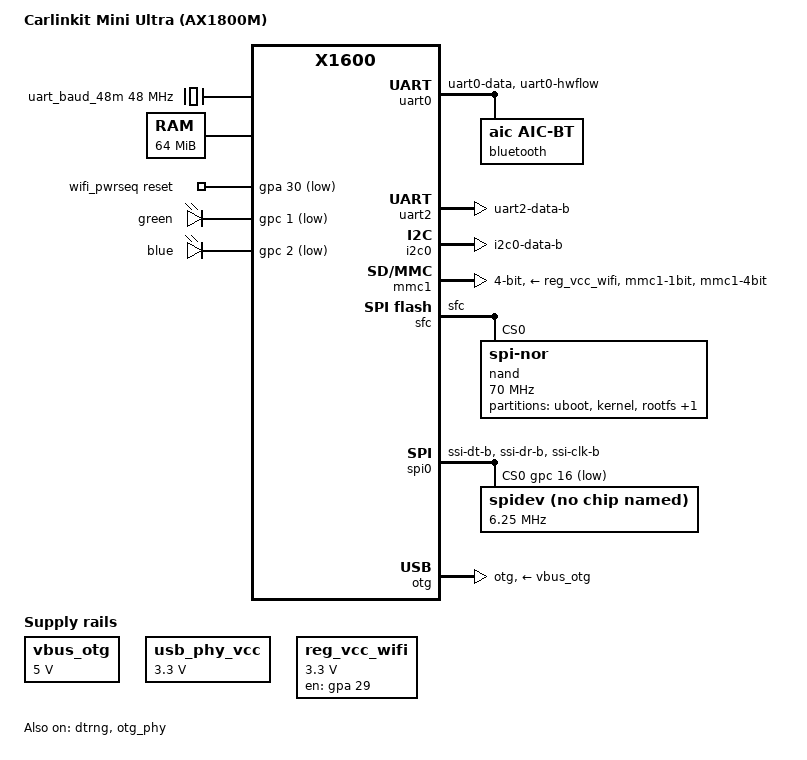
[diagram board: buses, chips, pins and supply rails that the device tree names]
/dts-v1/;

#include "x1600.dtsi"
#include <dt-bindings/gpio/gpio.h>
#include <dt-bindings/input/input.h>
#include <dt-bindings/interrupt-controller/irq.h>

/ {
	compatible = "carlinkit,mini-ultra", "ingenic,x1600";

	model = "Carlinkit Mini Ultra (AX1800M)";

	cpu_opp_table: opp-table {
		compatible = "operating-points-v2";

		opp-1104000000 {
			opp-hz = /bits/ 64 <1104000000>;
		};

		opp-552000000 {
			opp-hz = /bits/ 64 <552000000>;
		};

		opp-368000000 {
			opp-hz = /bits/ 64 <368000000>;
		};

		opp-276000000 {
			opp-hz = /bits/ 64 <276000000>;
		};

		opp-220800000 {
			opp-hz = /bits/ 64 <220800000>;
		};

		opp-184000000 {
			opp-hz = /bits/ 64 <184000000>;
		};
	};

	/* As a gadget we are unlikely to detect VBUS, because it goes directly to voltage regulator and powers the entire device.
	   Pretend it's always there */
	vbus_otg: regulator-vbus {
		compatible = "regulator-fixed";
		regulator-name = "usb-vbus";
		regulator-always-on;
		regulator-boot-on;
		regulator-min-microvolt = <5000000>;
		regulator-max-microvolt = <5000000>;

		enable-active-high;
		regulator-type = "voltage";
	};

	/* As a host (fake iPhone), don't provide power, iPhone doesn't do that either because it wants to be charged by the other end. */
	usb_phy_vcc: regulator-usb-phy {
		compatible = "regulator-fixed";
		regulator-name = "usb-phy-vcc";
		regulator-always-on;
		regulator-boot-on;

		regulator-min-microvolt = <3300000>;
		regulator-max-microvolt = <3300000>;

		enable-active-high;
		regulator-type = "voltage";

	};

	/* Fix Letux limiting baudrate to 1.5M, breaking our 3M preferred baudrate during boot */
	uart_baud_48m: uart-baud-48m {
		compatible = "fixed-clock";
		#clock-cells = <0>;
		clock-output-names = "uart-baud-48m";
		clock-frequency = <48000000>;
	};

	aliases {
		i2c0 = &i2c0;
		i2c1 = &i2c1;
		uart0 = &uart0;
		uart1 = &uart1;
		uart2 = &uart2;
		uart3 = &uart3;
		mac0 = &mac0;
		spi0 = &spi0;
		spi-slv0 = &spi_slv0;
		pwm = &pwm;
		can0 = &can0;
		can1 = &can1;
		mmc0 = &mmc0;
		mmc1 = &mmc1;

		serial2 = &uart2;
	};

	chosen {
		stdout-path = "serial2:3000000n8";
#if 0	// u-boot and optionally CONFIG_CMDLINE should provide something application specific
		bootargs = "mem=64M@0x0 rootfstype=ext4 root=/dev/mmcblk0p2 rw earlycon console=ttyS2,115200 ignore_loglevel rootwait";
#endif
	};

	reserved-memory {
		#address-cells = <1>;
		#size-cells = <1>;
		ranges =<>;

		reserved_memory: reserved_mem@2000000{
		      compatible = "shared-dma-pool";
		      reg = <0x02000000 0x20000>;
		};
	};

	memory@0 {
		device_type = "memory";
		reg = <0x00000000 0x04000000>; /* 64MB */
	};

	wifi_pwrseq: wifi-pwrseq {
		compatible = "mmc-pwrseq-simple";
		reset-gpios = <&gpa 30 GPIO_ACTIVE_LOW>; /* PA30 = WL_REG_ON */
		post-power-on-delay-ms = <100>; /* 200 */
		power-off-delay-us = <5000000>;
	};

	reg_vcc_wifi: regulator-vcc-wifi {
		compatible = "regulator-fixed";
		regulator-name = "vcc_wifi";
		regulator-min-microvolt = <3300000>;
		regulator-max-microvolt = <3300000>;

		gpio = <&gpa 29 GPIO_ACTIVE_HIGH>; /* PA29 = WLAN_POWER_ON */
		enable-active-high;
		/* startup-delay-us = <100000>; */ /* 100 ms */
	};

	leds {
    	compatible = "gpio-leds";

		green {
			gpios = <&gpc 1 GPIO_ACTIVE_LOW>;
		};

		blue {
			gpios = <&gpc 2 GPIO_ACTIVE_LOW>;
		};
	};
};

&pinctrl {
	uart0_pb: uart0-pb {
		function = "uart0";
		groups = "uart0-data";
		bias-pull-up;
	};

	uart0_pb_flow: uart0-pb-flow {
		function = "uart0";
		groups = "uart0-hwflow";
		bias-pull-up;
	};

	uart1_pb: uart1-pb {
		function = "uart1";
		groups = "uart1-data";
		bias-pull-up;
	};

	uart1_pb_flow: uart1-pb-flow {
		function = "uart1";
		groups = "uart1-hwflow";
		bias-pull-up;
	};

	uart2_pb: uart2-pb {
		function = "uart2";
		groups = "uart2-data-b";
		bias-pull-up;
	};

	uart3_pb: uart3-pb {
		function = "uart3";
		groups = "uart3-data-b";
		bias-pull-up;
	};

	spi0_pa: spi0-pa {
		function = "ssi";
		groups = "ssi-dt-a", "ssi-dr-a", "ssi-clk-a", "ssi-ce0-a", "ssi-ce1-b";
		bias-disable;
	};

	spi0_pb: spi0-pb {
		function = "ssi";
		groups = "ssi-dt-b", "ssi-dr-b", "ssi-clk-b";
		bias-disable;
	};

	msc0_4bit_f1: msc0 {
		function = "mmc0";
		groups = "mmc0-1bit-c", "mmc0-4bit-c";
		bias-disable;
	};

	msc1_4bit: msc1 {
		function = "mmc1";
		groups = "mmc1-1bit", "mmc1-4bit";
		bias-disable;
	};

	i2c0_pa: i2c0 {
		function = "i2c0";
		groups = "i2c0-data-a";
		bias-pull-up;
	};

	i2c0_pb: i2c0 {
		function = "i2c0";
		groups = "i2c0-data-b";
		bias-pull-up;
	};

	i2c1_pb: i2c1 {
		function = "i2c1";
		groups = "i2c1-data-b-19";
		bias-pull-up;
	};

	sfc_pc: sfc-pc {
		function = "sfc";
		groups = "sfc";
		bias-disable;
	};

// FIXME:
	spi_slv_pa: fixme {
		ingenic,pinmux = <&gpa 28 31>;
//		ingenic,pinmux-funcsel = <PINCTL_FUNCTION1>;
		bias-disable;
	};
};

&cgu {
	assigned-clocks = <&cgu X1600_CLK_EPLL>,
			  <&cgu X1600_CLK_I2S0>,
			  <&cgu X1600_CLK_I2S1>;

	assigned-clock-parents = <&cgu X1600_CLK_EXCLK>,
				 <&cgu X1600_CLK_EPLL>,
				 <&cgu X1600_CLK_EPLL>;

	assigned-clock-rates = <200000000>,
			       <100000000>,
			       <100000000>;
};

&rtc_dev {
	system-power-controller;
};

&uart0 {
	status = "okay";
	pinctrl-names = "default";
	pinctrl-0 = <&uart0_pb &uart0_pb_flow>;
	uart-has-rtscts;

	bluetooth {
		compatible = "aic,aic-bt";
		max-speed = <1500000>;
		uart-has-rtscts;
	};
};

&uart1 {
	status = "disabled";
};

&uart2 {
	status = "okay";
	clocks = <&uart_baud_48m>, <&cgu X1600_CLK_UART2>;
	clock-names = "baud", "module";

	pinctrl-names = "default";
	pinctrl-0 = <&uart2_pb>;
};

&uart3 {
	status = "disabled";
};

&cpu0 {
	operating-points-v2 = <&cpu_opp_table>;
};

&cpufreq {
	status = "disabled";
};

&dma {
	status = "okay";
};

&i2c0 {
	status = "okay";
	pinctrl-names = "default";
	pinctrl-0 = <&i2c0_pb>;
};

&i2c1 {
	status = "disabled";
};

&mmc0 {
	status = "disabled";
};

&mmc1 {
	status = "okay";

	pinctrl-names = "default";
	pinctrl-0 = <&msc1_4bit>;

	bus-width = <4>;
	max-frequency = <50000000>;
	broken-cd;

	#address-cells = <1>;
	#size-cells = <0>;

	cap-sd-highspeed;
	vmmc-supply = <&reg_vcc_wifi>;
	mmc-pwrseq = <&wifi_pwrseq>;

	c2a,btmode_pin = <89>;
	c2a,iopad_tune;
	c2a,iopad_delay1 = <0x80>;
};

&sfc {
	pinctrl-names = "default";
	pinctrl-0 = <&sfc_pc>;

	#address-cells = <1>;
	#size-cells = <0>;

	status = "okay";

	nand@0 {
		// compatible = "spi-nand";
		compatible = "jedec,spi-nor";
		reg = <0>;
		// spi-max-frequency = <50000000>;
		spi-max-frequency = <70000000>;
        spi-rx-bus-width = <4>;
        spi-tx-bus-width = <1>;

		/* Ingenic SFC NAND */
		nand-ecc-mode = "hw";
		nand-on-flash-bbt;

		partitions {
			compatible = "fixed-partitions";
			#address-cells = <1>;
			#size-cells = <1>;

			uboot@0 {
				label = "uboot";
				reg = <0x00000000 0x00020000>; /* 128KB */
			};

			kernel@20000 {
				label = "kernel";
				reg = <0x00020000 0x00380000>; /* 3.5MB */
			};

			rootfs@3a0000 {
				label = "rootfs";
				reg = <0x003a0000 0x00b80000>; /* 11.5MB */
			};

			userdata@f20000 {
				label = "userdata";
				reg = <0x00f20000 0x000E0000>; /* 896KB */
			};

			/*kernel@100000 {
				label = "kernel";
				reg = <0x00100000 0x00400000>;
			};

			rootfs@500000 {
				label = "rootfs";
				reg = <0x00500000 0x01000000>;
			};

			kernel2@1500000 {
				label = "kernel2";
				reg = <0x01500000 0x00400000>;
			};

			rootfs2@1900000 {
				label = "rootfs2";
				reg = <0x01900000 0x01000000>;
			};

			ota@2900000 {
				label = "ota";
				reg = <0x02900000 0x00100000>;
			};

			userdata@2a00000 {
				label = "userdata";
				reg = <0x02A00000 0x05300000>;
			};*/
		};
	};
};

&spi0 {
	/* LED driver */
	pinctrl-names = "default";
	pinctrl-0 = <&spi0_pb>;
	status = "okay";

	cs-gpios = <&gpc 16 GPIO_ACTIVE_LOW>;

	spidev@0 {
        compatible = "rohm,dh2228fv";
        reg = <0>;
        spi-max-frequency = <6250000>;
		spi-cpol;
		spi-cpha;
    };
	/*
		led-controller@0 {
		compatible = "worldsemi,ws2812b";
		reg = <0>;
		spi-max-frequency = <2500000>;
		spi-cpol;
		spi-cpha;

		#address-cells = <1>;
		#size-cells = <0>;

		led@0 {
			reg = <0>;
			label = "status:rgb:0";
		};

		led@1 {
			reg = <1>;
			label = "status:rgb:1";
		};

		led@2 {
			reg = <2>;
			label = "status:rgb:2";
		};
	};
	*/
};

&spi_slv0 {
	status = "disabled";
	pinctrl-names = "default";
	pinctrl-0 = <&spi_slv_pa>;
	ingenic,has_dma_support = <1>;
};

&dtrng {
	status = "okay";
};

&pwm {
	status = "disabled";
};

&otg {
	dr_mode = "otg";
	usb-role-switch;

	vbus-supply = <&vbus_otg>;
	g-use-dma;
	device-using-dma = <1>;
	status = "okay";
};


&otg_phy {
	status = "okay";
	vcc-supply = <&usb_phy_vcc>;
//	ingenic,vbus-dete-gpio = <&gpc 24 GPIO_ACTIVE_LOW>;
};

&aic {
	status = "disabled";
};

&efuse {
	status = "enabled";
};
